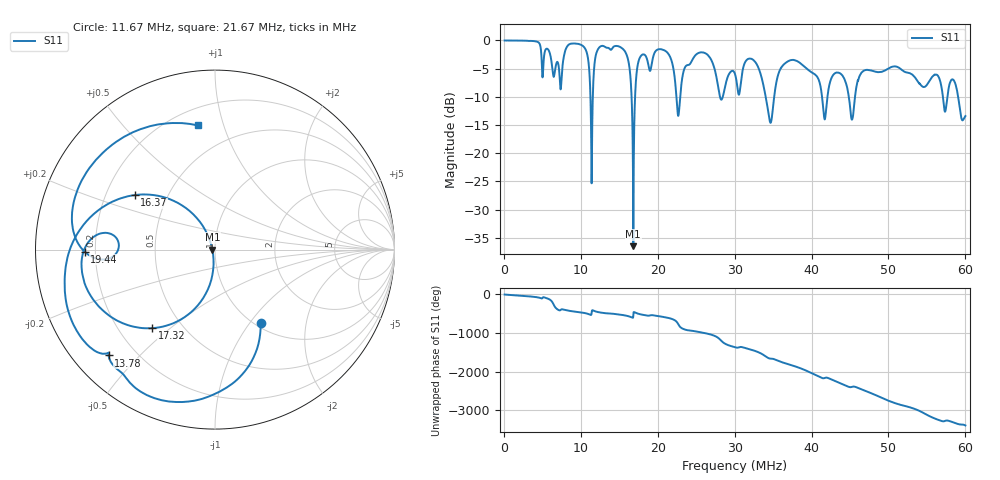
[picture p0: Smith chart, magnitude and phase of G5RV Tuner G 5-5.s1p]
# Hz S RI R 50
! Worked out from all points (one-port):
!   3030 points, 100 kHz to 60 MHz, reference 50 ohm
!   lowest |S11| = -36.5 dB at 16.83 MHz (marker M1), VSWR 1.03, Z = 48.5 + j0.0531 ohm
!   |S11| at or under -10 dB: 34.04 MHz to 35.14 MHz (1.105 MHz wide, 3.19 % of centre); 44.84 MHz to 45.65 MHz (808.5 kHz wide, 1.79 % of centre); 59.05 MHz to end of sweep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
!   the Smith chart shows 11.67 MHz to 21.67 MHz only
!   S11 on the Smith chart (normalised r, x): 11.67 MHz: 1.06, -1.13; 13.78 MHz: 0.10, -0.41; 16.37 MHz: 0.32, +0.28; 17.32 MHz: 0.34, -0.44; 19.44 MHz: 0.16, -0.01; 21.67 MHz: 0.30, +0.82
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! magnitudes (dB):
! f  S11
! 100 kHz  0.0
! 7.595 MHz  -5.0
! 10.17 MHz  -0.9
! 11.33 MHz  -15.0
! 11.67 MHz  -6.4
! 12.16 MHz  -1.8
! 13.78 MHz  -1.6
! 15.09 MHz  -1.1
! 16.37 MHz  -5.3
! 16.83 MHz  -36.5
! 17.32 MHz  -5.0
! 19.44 MHz  -2.8
! 21.67 MHz  -3.1
! 22.56 MHz  -12.4
! 25.29 MHz  -2.2
! 28.26 MHz  -10.5
! 30.06 MHz  -6.0
! 32.61 MHz  -3.7
! 34.65 MHz  -14.6
! 37.55 MHz  -3.5
! 41.71 MHz  -14.0
! 43.78 MHz  -5.9
! 45.03 MHz  -12.0
! 46.79 MHz  -5.4
! 52.52 MHz  -5.7
! 57.37 MHz  -12.6
! 58.42 MHz  -7.0
! 60 MHz  -13.4
